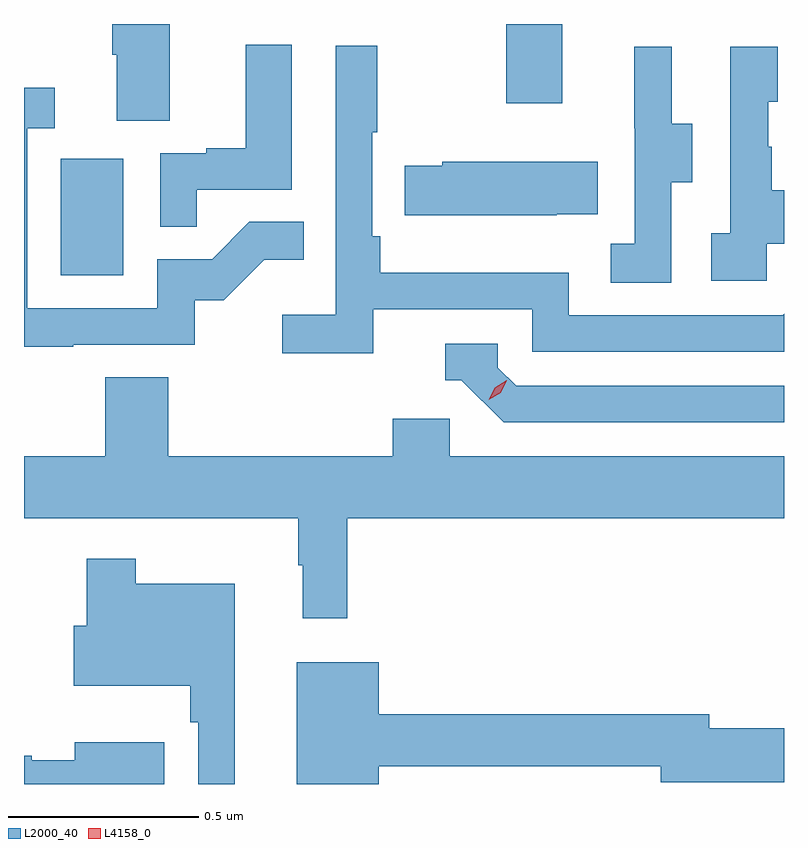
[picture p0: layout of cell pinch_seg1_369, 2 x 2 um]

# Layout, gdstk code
import gdstk
lib = gdstk.Library(unit=1e-6, precision=1e-09)
def R(c, l, rs):  # rectangles x0, y0, x1, y1
    for r in rs: c.add(gdstk.rectangle(r[:2], r[2:], *l))
def P(c, l, *ps):  # polygons
    for p in ps: c.add(gdstk.Polygon(p, *l))
L2000_40 = (2000, 40)
L4158_0 = (4158, 0)

pinch_seg1_369 = lib.new_cell('pinch_seg1_369')
R(pinch_seg1_369, L2000_40, [(950.312,528.396,950.476,528.703), (951.484,528.849,951.631,529.057)])
P(pinch_seg1_369, L2000_40, [(950.599,529.057),(950.447,529.057),(950.447,528.976),(950.459,528.976),(950.459,528.802),(950.599,528.802)],
  [(950.669,528.621),(950.92,528.621),(950.92,529.003),(950.798,529.003),(950.798,528.73),(950.695,528.73),(950.695,528.717),(950.574,528.717),(950.574,528.523),(950.669,528.523)],
  [(951.134,528.306),(951.552,528.306),(951.552,528.195),(952.215,528.195),(952.215,528.294),(952.212,528.291),(951.648,528.291),(951.648,528.403),(951.152,528.403),(951.152,528.499),(951.132,528.499),(951.132,528.772),(951.145,528.772),(951.145,529),(951.036,529),(951.036,528.292),(950.895,528.292),(950.895,528.19),(951.134,528.19)],
  [(952.17,528.479),(952.215,528.479),(952.215,528.619),(952.183,528.619),(952.183,528.734),(952.173,528.734),(952.173,528.852),(952.198,528.852),(952.198,528.997),(952.074,528.997),(952.074,528.506),(952.023,528.506),(952.023,528.381),(952.17,528.381)],
  [(951.918,528.64),(951.973,528.64),(951.973,528.795),(951.919,528.795),(951.919,528.997),(951.821,528.997),(951.821,528.783),(951.822,528.783),(951.822,528.479),(951.759,528.479),(951.759,528.376),(951.918,528.376)],
  [(950.345,528.213),(950.664,528.213),(950.664,528.33),(950.74,528.33),(950.847,528.437),(950.951,528.437),(950.951,528.536),(950.808,528.536),(950.71,528.438),(950.565,528.438),(950.565,528.309),(950.223,528.309),(950.223,528.783),(950.296,528.783),(950.296,528.889),(950.215,528.889),(950.215,528.208),(950.345,528.208)],
  [(951.617,528.557),(951.725,528.557),(951.725,528.694),(951.315,528.694),(951.315,528.684),(951.217,528.684),(951.217,528.554),(951.617,528.554)],
  [(952.215,528.105),(951.51,528.105),(951.462,528.153),(951.462,528.216),(951.323,528.216),(951.323,528.12),(951.366,528.12),(951.477,528.009),(952.215,528.009)],
  [(951.065,527.756),(952.215,527.756),(952.215,527.92),(951.336,527.92),(951.336,528.018),(951.185,528.018),(951.185,527.92),(950.594,527.92),(950.594,528.128),(950.429,528.128),(950.429,527.92),(950.215,527.92),(950.215,527.756),(950.937,527.756),(950.937,527.633),(950.948,527.633),(950.948,527.493),(951.065,527.493)],
  [(950.77,527.584),(950.509,527.584),(950.509,527.65),(950.38,527.65),(950.38,527.473),(950.346,527.473),(950.346,527.315),(950.653,527.315),(950.653,527.219),(950.673,527.219),(950.673,527.057),(950.77,527.057)],
  [(951.148,527.104),(951.89,527.104),(951.89,527.062),(952.215,527.062),(952.215,527.204),(952.018,527.204),(952.018,527.24),(951.148,527.24),(951.148,527.377),(950.933,527.377),(950.933,527.057),(951.148,527.057)],
  [(950.584,527.167),(950.348,527.167),(950.348,527.119),(950.235,527.119),(950.235,527.132),(950.215,527.132),(950.215,527.057),(950.584,527.057)])
P(pinch_seg1_369, L4158_0, [(951.438,528.068),(951.438,528.068),(951.454,528.1),(951.485,528.119),(951.486,528.119),(951.486,528.119),(951.469,528.087),(951.438,528.068)])

lib.write_gds('pinch_seg1_369.gds')
